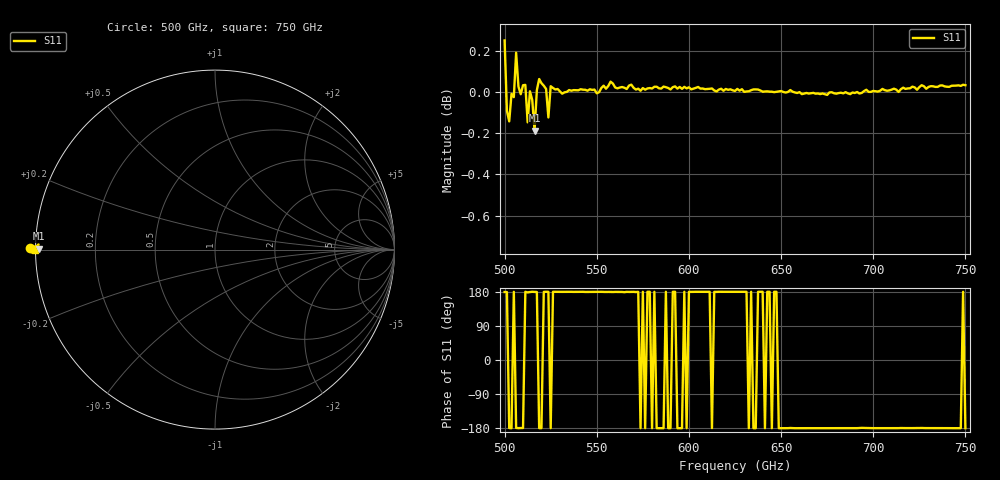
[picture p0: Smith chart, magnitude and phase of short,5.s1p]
!Created with mwavepy.
# GHz S RI R 50.0
!freq	ReS11	ImS11
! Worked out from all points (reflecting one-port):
!   201 points, 500 GHz to 750 GHz, reference 50 ohm
!   lowest |S11| = -0.2 dB at 516.2 GHz (marker M1), VSWR 92.77, Z = 0.539 + j0.122 ohm
!   phase of S11 starts at 179 deg and turns +1 deg over the sweep
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500  -1.029 0.0113
! Port Impedance 50.00000000000000 0.00000000000000
501.25  -0.9895 0.0119
502.5  -0.9837 -0.00875
505  -0.9972 0.00301
506.25  -1.022 -0.0155
507.5  -1.003 -0.00353
510  -1.004 -0.00892
511.25  -1.004 0.000939
512.5  -0.9828 0.0287
513.75  -1 0.0117
516.25  -0.9787 0.00477
517.5  -1.001 0.011
518.75  -1.007 -0.00358
522.5  -1.002 1.35e-05
523.75  -0.9859 0.00208
525  -1.003 -0.00152
531.25  -0.9991 0.00334
562.5  -1.003 0.00469
565  -1.002 0.0179
566.25  -1.002 0.00339
593.75  -1.002 -8.08e-05
625  -1.001 0.00132
656.25  -1 -0.00492
687.5  -0.9989 -0.00275
693.75  -0.9994 -0.0155
700  -1.001 -0.0022
718.75  -1.002 -0.00381
750  -1.004 -0.00144
